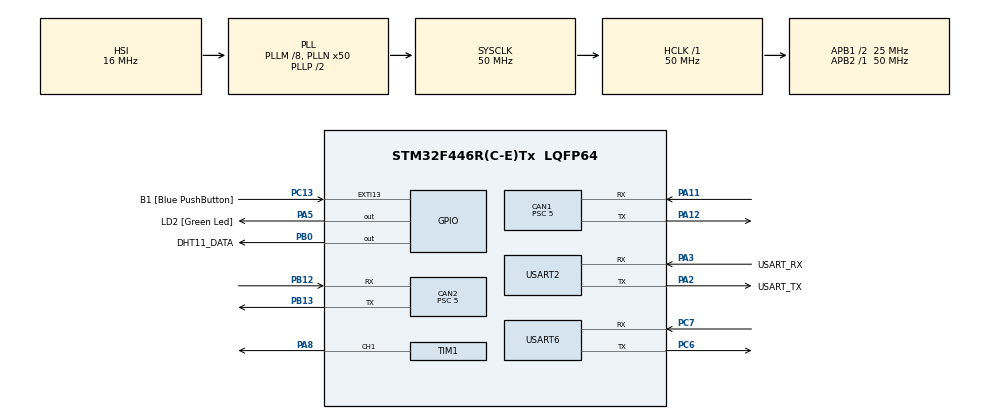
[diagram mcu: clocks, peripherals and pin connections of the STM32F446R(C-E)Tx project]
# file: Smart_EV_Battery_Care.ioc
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CAN1.BS1=CAN_BS1_7TQ
CAN1.BS2=CAN_BS2_2TQ
CAN1.CalculateBaudRate=500000
CAN1.CalculateTimeBit=2000
CAN1.CalculateTimeQuantum=200.0
CAN1.NART=DISABLE
CAN1.Prescaler=5
CAN2.BS1=CAN_BS1_7TQ
CAN2.BS2=CAN_BS2_2TQ
CAN2.CalculateBaudRate=500000
CAN2.CalculateTimeBit=2000
CAN2.CalculateTimeQuantum=200.0
CAN2.Prescaler=5
FREERTOS.Tasks01=defaultTask,24,1024,StartDefaultTask,Default,NULL,Dynamic,NULL,NULL
Mcu.Family=STM32F4
Mcu.Name=STM32F446R(C-E)Tx
Mcu.Package=LQFP64
NVIC.CAN2_RX0_IRQn=true\:5\:0\:false\:false\:true\:true\:true\:true\:true
NVIC.PriorityGroup=NVIC_PRIORITYGROUP_4
PA11.Mode=CAN_Activate
PA11.Signal=CAN1_RX
PA12.Mode=CAN_Activate
PA12.Signal=CAN1_TX
PA13.GPIO_Label=TMS
PA13.Mode=Serial_Wire
PA13.Signal=SYS_JTMS-SWDIO
PA14.GPIO_Label=TCK
PA14.Mode=Serial_Wire
PA14.Signal=SYS_JTCK-SWCLK
PA2.GPIO_Label=USART_TX
PA2.Mode=Asynchronous
PA2.Signal=USART2_TX
PA3.GPIO_Label=USART_RX
PA3.Mode=Asynchronous
PA3.Signal=USART2_RX
PA5.GPIO_Label=LD2 [Green Led]
PA5.Signal=GPIO_Output
PA8.Signal=S_TIM1_CH1
PB0.GPIO_Label=DHT11_DATA
PB0.PinState=GPIO_PIN_SET
PB0.Signal=GPIO_Output
PB12.GPIO_PuPd=GPIO_PULLUP
PB12.Mode=CAN_Activate
PB12.Signal=CAN2_RX
PB13.Mode=CAN_Activate
PB13.Signal=CAN2_TX
PB3.GPIO_Label=SWO
PB3.Signal=SYS_JTDO-SWO
PC13.GPIO_Label=B1 [Blue PushButton]
PC13.GPIO_ModeDefaultEXTI=GPIO_MODE_IT_FALLING
PC13.Signal=GPXTI13
PC14-OSC32_IN.Mode=LSE-External-Oscillator
PC14-OSC32_IN.Signal=RCC_OSC32_IN
PC15-OSC32_OUT.Mode=LSE-External-Oscillator
PC15-OSC32_OUT.Signal=RCC_OSC32_OUT
PC6.Mode=Asynchronous
PC6.Signal=USART6_TX
PC7.GPIO_PuPd=GPIO_PULLUP
PC7.Mode=Asynchronous
PC7.Signal=USART6_RX
PH0-OSC_IN.Mode=HSE-External-Oscillator
PH0-OSC_IN.Signal=RCC_OSC_IN
PH1-OSC_OUT.Mode=HSE-External-Oscillator
PH1-OSC_OUT.Signal=RCC_OSC_OUT
ProjectManager.HeapSize=0x200
ProjectManager.StackSize=0x400
ProjectManager.TargetToolchain=STM32CubeIDE
RCC.48MHZClocksFreq_Value=84000000
RCC.AHBFreq_Value=50000000
RCC.APB1CLKDivider=RCC_HCLK_DIV2
RCC.APB1Freq_Value=25000000
RCC.APB1TimFreq_Value=50000000
RCC.APB2Freq_Value=50000000
RCC.APB2TimFreq_Value=50000000
RCC.CortexFreq_Value=50000000
RCC.FLatency-AdvancedSettings=FLASH_LATENCY_1
RCC.HCLKFreq_Value=50000000
RCC.HSE_VALUE=8000000
RCC.HSI_VALUE=16000000
RCC.PLLM=8
RCC.PLLN=50
RCC.SYSCLKFreq_VALUE=50000000
RCC.SYSCLKSource=RCC_SYSCLKSOURCE_PLLCLK
RCC.USBFreq_Value=50000000
RCC.VCOOutputFreq_Value=100000000
SH.S_TIM1_CH1.0=TIM1_CH1,PWM Generation1 CH1
TIM1.Channel-PWM\ Generation1\ CH1=TIM_CHANNEL_1
TIM1.Period=19999
TIM1.Prescaler=49
TIM6.Prescaler=83
USART2.VirtualMode=VM_ASYNC
USART6.VirtualMode=VM_ASYNC
VP_FREERTOS_VS_CMSIS_V2.Mode=CMSIS_V2
VP_TIM1_VS_ClockSourceINT.Mode=Internal
VP_TIM6_VS_ClockSourceINT.Mode=Enable_Timer
board=NUCLEO-F446RE

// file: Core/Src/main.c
/* USER CODE BEGIN Header */
/**
  ******************************************************************************
  * @file           : main.c
  * @brief          : Main program body
  ******************************************************************************
  */
/* USER CODE END Header */
#include "main.h"
#include "cmsis_os.h"
#include "can.h"
#include "tim.h"
#include "usart.h"
#include "gpio.h"

/* USER CODE BEGIN Includes */
#include <stdint.h>
#include <stdio.h>
#include <string.h>
#include "mk_dht11.h"
/* USER CODE END Includes */

void SystemClock_Config(void);
void MX_FREERTOS_Init(void);

/* USER CODE BEGIN PV */
dht11_t dht;

extern UART_HandleTypeDef huart2;
extern UART_HandleTypeDef huart6;
extern TIM_HandleTypeDef htim1;
extern CAN_HandleTypeDef hcan2;

/* ── CAN ID 정의 (문서 14번 스펙 + 이력 프레임 추가) ────── */
#define CAN_ID_BMS_STATUS   0x100   /* STM32 -> ESP32 실시간 상태 송신 */
#define CAN_ID_BMS_HISTORY  0x101   /* STM32 -> ESP32 이력 데이터 송신 (신규) */
#define CAN_ID_BMS_CTRL     0x200   /* ESP32 -> STM32 제어 명령 수신 */
#define CAN_ID_UDS_REQ      0x7A0   /* [추가] ESP32 -> STM32 UDS 진단 요청 (문서 15번) */
#define CAN_ID_UDS_RESP     0x7A8   /* [추가] STM32 -> ESP32 UDS 진단 응답 */

/* ── OTA 관련 CAN ID (ESP32 쪽에 이미 정의되어 있던 것과 동일) ── */
#define CAN_ID_OTA_START    0x300   /* ESP32 -> STM32: 파일 크기 + CRC32 전송 */
#define CAN_ID_OTA_DATA     0x301   /* ESP32 -> STM32: 펌웨어 조각 (8바이트씩 스트리밍) */
#define CAN_ID_OTA_DONE     0x302   /* ESP32 -> STM32: 전송 완료 신호 */
#define CAN_ID_OTA_RESULT   0x311   /* STM32 -> ESP32: 검증/반영 결과 */

/* ── OTA용 Flash 구역 (STM32F446RE 512KB, Sector 0~7) ──────
   Sector 0~4 (0x08000000~0x0801FFFF, 128KB): 지금 실행 중인 앱 코드
   Sector 5   (0x08020000, 128KB): OTA 임시 보관 공간 (Staging)
   Sector 6   (0x08040000, 128KB): 예비
   Sector 7   (0x08060000, 128KB): 기존 이력/설정 저장 공간 (그대로 유지) */
#define OTA_STAGING_ADDR    0x08020000UL
#define OTA_STAGING_SECTOR  FLASH_SECTOR_5
#define OTA_APP_START_ADDR  0x08000000UL
#define OTA_APP_SECTOR_COUNT 5   /* Sector 0~4 */
#define OTA_MAX_SIZE        (128UL * 1024UL)

/* UDS 서비스 ID (문서 15번) */
#define UDS_SID_DIAG_SESSION_CONTROL  0x10
#define UDS_SID_READ_DATA_BY_ID       0x22
#define UDS_SID_READ_DTC_INFO         0x19
#define UDS_SID_WRITE_DATA_BY_ID      0x2E
#define UDS_NEG_RESPONSE              0x7F

/* UDS DID (문서 15번) */
#define DID_SOFTWARE_VERSION   0xF190
#define DID_MAX_TEMPERATURE    0xF191
#define DID_SOH                0xF192
#define DID_VALVE_COUNT        0xF193
#define DID_TEMP_THRESHOLD     0xF194

/* Command 정의 (문서 14번 + 데모용 추가) */
#define CMD_LOAD_CHANGE   0x01
#define CMD_SUMMER_MODE   0x02
#define CMD_WINTER_MODE   0x03
#define CMD_DTC_CLEAR     0x04
#define CMD_CHARGE_FULL   0x05   /* 데모 편의 기능 */
#define CMD_DEMO_STRESS   0x06   /* [추가] 시연용 이력 강제 누적 (테스트 전용, SOH 공식 자체는 안 건드림) */
#define CMD_OTA_THRESHOLD 0x07   /* [추가] OTA 파라미터 업데이트: 임계치를 Flash에 영구 저장 */
#define CMD_HISTORY_RESET 0x08   /* [추가] 이력 초기화 (테스트 전용) */
#define CMD_OTA_ENTER     0x09   /* [추가] OTA 패널 진입 -> 대기 모드로 전환 */
#define CMD_OTA_CANCEL    0x0A   /* [추가] OTA 패널에서 뒤로가기 -> 평소 모드로 복귀 */

/* ══════════════════════════════════════════════════════════
   [보안] CAN 명령 인증 + OTA 서명용 공유 비밀값
   ══════════════════════════════════════════════════════════
   STM32와 ESP32만 아는 값이라고 가정. 실제 제품이었다면 기기마다
   다른 키를 안전하게 심어두고(프로비저닝) HMAC-SHA256 같은 진짜
   암호학적 해시를 썼겠지만, 여기서는 "인증이라는 개념"을 짧은 시간에
   보여주기 위해 CRC8/CRC32에 이 비밀값을 섞어 넣는 간단한 방식으로
   구현했습니다. (CRC는 선형이라 진짜 공격자가 마음먹으면 역산이
   가능한 수준 - 발표 때 이 한계는 솔직하게 말씀하시면 됩니다) */
#define SHARED_SECRET_32  0x5A3C1E77UL

/* ══════════════════════════════════════════════════════════
   [OTA 시연용] 펌웨어 버전 - 이 두 숫자만 바꿔서 두 번 빌드하면
   "OTA 전/후" 데모용 .bin 파일 2개가 만들어집니다.
   예: 1,2로 한 번 빌드(v1.2, 원래 것) -> 1,3으로 바꿔서 다시 빌드(v1.3, 새 것)
   UDS "SW 버전(F190)" 조회 버튼으로 이 값이 바뀌었는지 눈으로 확인 가능 */
#define FW_VERSION_MAJOR  1
#define FW_VERSION_MINOR  2

/* Fault 비트 정의 (문서 16번 DTC) */
#define DTC_B1001_OVER_TEMP        (1 << 0)
#define DTC_B1002_VALVE_FAIL       (1 << 1)
#define DTC_B1003_TEMP_SENSOR_FAIL (1 << 2)
#define DTC_B1004_OTA_FAIL         (1 << 3)

#define SERVO_PULSE_CLOSED   1000
#define SERVO_PULSE_WARN     1500
#define SERVO_PULSE_OPEN     2000

/* ── Flash 이력 저장 영역 (문서 10번) ───────────────────── */
#define FLASH_LOG_SECTOR   FLASH_SECTOR_7
#define FLASH_LOG_ADDR     0x08060000UL   /* [수정] STM32F446RE(512KB) Sector 7 실제 시작 주소. 0x080E0000은 더 큰 용량 칩 기준이라 잘못됐었음 */
#define FLASH_MAGIC        0xB3A55A3BUL

typedef struct {
    uint32_t magic;
    float    max_temp;
    uint16_t valve_count;
    uint16_t overheat_count;
    uint8_t  temp_threshold;
    uint8_t  season;
    uint16_t ota_count;      /* OTA 파라미터 적용 횟수 (문서 10번 "OTA 적용 이력") */
} bms_history_t;

static bms_history_t hist;

/* ── 실시간 상태 변수 ────────────────────────────────────── */
static float    T_ambient      = 25.0f;
static float    T_cell         = 25.0f;
static uint8_t  actual_load    = 0;
static uint8_t  target_load    = 0;
static const float K_FACTOR    = 0.33f;  /* [수정] 0.2 -> 0.33: 최대 부하(100%) 시 온도가 50~60도대에 오도록 조정 */

static uint8_t  soc            = 100;
static float    soc_f          = 100.0f;
static uint8_t  soh            = 100;
static uint8_t  fault_byte     = 0;
static uint8_t  valve_angle    = 0;
static uint8_t  prev_valve_angle = 0;
static uint8_t  was_overheating  = 0;

/* ── OTA 상태 변수 ───────────────────────────────────────── */
typedef enum {
    OTA_STATE_NORMAL = 0,     /* 평소 모드 */
    OTA_STATE_WAITING,        /* 대기 모드 (OTA 패널 진입, 파일 아직 안 옴) */
    OTA_STATE_RECEIVING       /* 파일 조각을 받는 중 */
} ota_state_t;

static ota_state_t ota_state = OTA_STATE_NORMAL;
static uint32_t     ota_total_size    = 0;
static uint32_t     ota_expected_crc  = 0;
static uint32_t     ota_bytes_written = 0;   /* Staging에 실제로 기록된 바이트 수 */
static uint8_t       ota_ram_buf[256];        /* 4바이트씩 flash에 쓰기 전 잠깐 모아두는 RAM 버퍼 */
static uint16_t       ota_ram_buf_len = 0;
static uint8_t        ota_flash_write_error = 0;   /* [추가] Flash 쓰기 중 하나라도 실패하면 1 */

/* [보안] CAN 제어 명령 재전송 방지용 - 마지막으로 받아들인 카운터 값 */
static uint16_t can_auth_last_counter = 0;
static uint16_t can_auth_fail_count = 0;   /* 위조/재전송 시도가 몇 번 있었는지 (Fault/DTC로도 연결) */
/* USER CODE END PV */

/* USER CODE BEGIN PFP */
static void CAN_Filter_Config(void);
static uint8_t crc8_calc(const uint8_t *data, int len);
static uint32_t crc32_calc(const uint8_t *data, uint32_t len);
static uint32_t crc32_calc_seeded(const uint8_t *data, uint32_t len, uint32_t seed);
static uint8_t compute_can_auth_tag(uint8_t cmd, uint8_t p1, uint8_t p2, uint16_t counter);
static void update_bms_logic(void);
static void send_status_frame(void);
static void send_history_frame(void);
static void handle_ctrl_frame(uint8_t *data, uint8_t dlc);
static void handle_uds_request(uint8_t *rx, uint8_t dlc);
static void send_uds_response(const uint8_t *data, uint8_t len);
static void flash_load_history(void);
static void flash_save_history(void);
static void ota_enter_waiting(void);
static void ota_cancel(void);
static void ota_handle_start(uint8_t *data, uint8_t dlc);
static void ota_handle_data(uint8_t *data, uint8_t dlc);
static void ota_handle_done(void);
static void ota_flush_ram_buf(uint8_t final);
static void ota_send_result(uint8_t ok);
/* USER CODE END PFP */

/* USER CODE BEGIN 0 */
int __io_putchar(int ch)
{
    HAL_UART_Transmit(&huart2, (uint8_t *)&ch, 1, HAL_MAX_DELAY);
    return ch;
}

static void CAN_Filter_Config(void)
{
    CAN_FilterTypeDef sFilterConfig;
    sFilterConfig.FilterBank = 0;
    sFilterConfig.FilterMode = CAN_FILTERMODE_IDMASK;
    sFilterConfig.FilterScale = CAN_FILTERSCALE_32BIT;
    sFilterConfig.FilterIdHigh = (CAN_ID_BMS_CTRL << 5);
    sFilterConfig.FilterIdLow = 0x0000;
    sFilterConfig.FilterMaskIdHigh = (0x7FF << 5);
    sFilterConfig.FilterMaskIdLow = 0x0000;
    sFilterConfig.FilterFIFOAssignment = CAN_FILTER_FIFO0;
    sFilterConfig.FilterActivation = ENABLE;
    sFilterConfig.SlaveStartFilterBank = 0;

    if (HAL_CAN_ConfigFilter(&hcan2, &sFilterConfig) != HAL_OK)
    {
        Error_Handler();
    }

    /* [추가] 필터 뱅크 1 - UDS 진단 요청(0x7A0)도 받도록 */
    CAN_FilterTypeDef sFilterConfig2;
    sFilterConfig2.FilterBank = 1;
    sFilterConfig2.FilterMode = CAN_FILTERMODE_IDMASK;
    sFilterConfig2.FilterScale = CAN_FILTERSCALE_32BIT;
    sFilterConfig2.FilterIdHigh = (CAN_ID_UDS_REQ << 5);
    sFilterConfig2.FilterIdLow = 0x0000;
    sFilterConfig2.FilterMaskIdHigh = (0x7FF << 5);
    sFilterConfig2.FilterMaskIdLow = 0x0000;
    sFilterConfig2.FilterFIFOAssignment = CAN_FILTER_FIFO0;
    sFilterConfig2.FilterActivation = ENABLE;
    sFilterConfig2.SlaveStartFilterBank = 0;

    if (HAL_CAN_ConfigFilter(&hcan2, &sFilterConfig2) != HAL_OK)
    {
        Error_Handler();
    }

    /* [추가] 필터 뱅크 2 - OTA 메시지(0x300~0x303: START/DATA/DONE 등)도 받도록
       마스크로 하위 2비트를 무시해서 0x300,0x301,0x302,0x303을 한 번에 수용 */
    CAN_FilterTypeDef sFilterConfig3;
    sFilterConfig3.FilterBank = 2;
    sFilterConfig3.FilterMode = CAN_FILTERMODE_IDMASK;
    sFilterConfig3.FilterScale = CAN_FILTERSCALE_32BIT;
    sFilterConfig3.FilterIdHigh = (CAN_ID_OTA_START << 5);
    sFilterConfig3.FilterIdLow = 0x0000;
    sFilterConfig3.FilterMaskIdHigh = (0x7FCU << 5);   /* 하위 2비트 무시 */
    sFilterConfig3.FilterMaskIdLow = 0x0000;
    sFilterConfig3.FilterFIFOAssignment = CAN_FILTER_FIFO0;
    sFilterConfig3.FilterActivation = ENABLE;
    sFilterConfig3.SlaveStartFilterBank = 0;

    if (HAL_CAN_ConfigFilter(&hcan2, &sFilterConfig3) != HAL_OK)
    {
        Error_Handler();
    }
}

static uint8_t crc8_calc(const uint8_t *data, int len)
{
    uint8_t crc = 0x00;
    for (int i = 0; i < len; i++) {
        crc ^= data[i];
        for (int b = 0; b < 8; b++) {
            if (crc & 0x80) crc = (uint8_t)((crc << 1) ^ 0x07);
            else crc <<= 1;
        }
    }
    return crc;
}

/* [보안] CAN 제어 명령용 인증 태그 계산.
   비밀값(SHARED_SECRET_32) + 명령 + 파라미터2개 + 카운터를 한꺼번에 CRC8로
   묶어서 계산 -> 이 비밀값을 모르면 올바른 태그를 만들 수 없음 (위조 방지),
   카운터가 매번 달라지므로 예전에 캡처해둔 메시지를 재전송해도 카운터가
   과거 값이라 거부됨 (재전송 방지) */
static uint8_t compute_can_auth_tag(uint8_t cmd, uint8_t p1, uint8_t p2, uint16_t counter)
{
    uint8_t buf[9];
    buf[0] = (uint8_t)(SHARED_SECRET_32 >> 24);
    buf[1] = (uint8_t)(SHARED_SECRET_32 >> 16);
    buf[2] = (uint8_t)(SHARED_SECRET_32 >> 8);
    buf[3] = (uint8_t)(SHARED_SECRET_32);
    buf[4] = cmd;
    buf[5] = p1;
    buf[6] = p2;
    buf[7] = (uint8_t)(counter & 0xFF);
    buf[8] = (uint8_t)((counter >> 8) & 0xFF);
    return crc8_calc(buf, 9);
}

/* ── Flash 이력 로드/저장 (문서 10번) ────────────────────── */
static void flash_load_history(void)
{
    memcpy(&hist, (void *)FLASH_LOG_ADDR, sizeof(hist));
    if (hist.magic != FLASH_MAGIC) {
        /* Flash가 비어있거나(첫 부팅) 손상됨 -> 초기값으로 시작 */
        hist.magic = FLASH_MAGIC;
        hist.max_temp = 0.0f;
        hist.valve_count = 0;
        hist.overheat_count = 0;
        hist.temp_threshold = 40;
        hist.season = 0;
        hist.ota_count = 0;
        printf("[FLASH] 이력 없음 - 초기화\r\n");
    } else {
        printf("[FLASH] 이력 로드: max_temp=%.1f valve_count=%d overheat_count=%d threshold=%d season=%d ota_count=%d\r\n",
               hist.max_temp, hist.valve_count, hist.overheat_count, hist.temp_threshold, hist.season, hist.ota_count);
    }
}

static void flash_save_history(void)
{
    HAL_FLASH_Unlock();

    FLASH_EraseInitTypeDef eraseInit;
    uint32_t sectorError = 0;
    eraseInit.TypeErase = FLASH_TYPEERASE_SECTORS;
    eraseInit.Sector = FLASH_LOG_SECTOR;
    eraseInit.NbSectors = 1;
    eraseInit.VoltageRange = FLASH_VOLTAGE_RANGE_3;

    if (HAL_FLASHEx_Erase(&eraseInit, &sectorError) != HAL_OK) {
        printf("[FLASH] Erase 실패 (sectorError=0x%08lX)\r\n", sectorError);
        HAL_FLASH_Lock();
        return;
    }

    uint32_t *src = (uint32_t *)&hist;
    uint32_t addr = FLASH_LOG_ADDR;
    for (size_t i = 0; i < sizeof(hist) / 4; i++) {
        if (HAL_FLASH_Program(FLASH_TYPEPROGRAM_WORD, addr, src[i]) != HAL_OK) {
            printf("[FLASH] Program 실패 @0x%08lX\r\n", addr);
            break;
        }
        addr += 4;
    }

    HAL_FLASH_Lock();
    printf("[FLASH] 이력 저장 완료\r\n");
}

/* [추가] 자동 저장은 최소 10초 간격으로 제한 (섹터 지우기가 몇 초씩 걸려서 그 사이 CAN이 멈추는 것 방지).
   데모/OTA 버튼 같은 명시적 사용자 액션은 이 제한 없이 즉시 저장 (flash_save_history 직접 호출) */
static uint32_t last_auto_save_tick = 0;
static void flash_save_history_throttled(void)
{
    uint32_t now = HAL_GetTick();
    if (now - last_auto_save_tick < 10000) {
        return;  /* 너무 자주 저장하지 않음 - RAM 값은 이미 최신이라 화면 표시엔 문제 없음 */
    }
    last_auto_save_tick = now;
    flash_save_history();
}

/* ESP32로부터 받은 제어 명령(0x200) 처리 */
static void handle_ctrl_frame(uint8_t *data, uint8_t dlc)
{
    if (dlc < 1) return;
    uint8_t command = data[0];

    /* [보안] 인증 태그 + 카운터 검증 (프레임이 6바이트 이상 갖춰진 경우만 - 구버전 호환용 완충)
       - 태그가 안 맞으면: 이 명령이 진짜 우리 ESP32가 보낸 게 아닐 수 있음 -> 거부
       - 카운터가 이전보다 안 커졌으면: 예전에 캡처해둔 메시지를 재전송한 것일 수 있음 -> 거부 */
    if (dlc >= 6) {
        uint8_t p1 = data[1];
        uint8_t p2 = data[2];
        uint16_t counter = (uint16_t)data[3] | ((uint16_t)data[4] << 8);
        uint8_t receivedTag = data[5];
        uint8_t expectedTag = compute_can_auth_tag(command, p1, p2, counter);

        if (receivedTag != expectedTag) {
            can_auth_fail_count++;
            printf("[보안] 인증 태그 불일치! 위조된 명령으로 의심되어 거부합니다 (누적 %d회)\r\n", can_auth_fail_count);
            return;
        }
        if (can_auth_last_counter != 0 && counter <= can_auth_last_counter) {
            can_auth_fail_count++;
            printf("[보안] 재전송 의심 (counter=%u <= 마지막 승인값=%u) -> 거부 (누적 %d회)\r\n",
                   counter, can_auth_last_counter, can_auth_fail_count);
            return;
        }
        can_auth_last_counter = counter;
    }

    switch (command) {
        case CMD_LOAD_CHANGE:
            if (dlc >= 2) {
                target_load = data[1];
                printf("[CTRL] Load 변경 -> %d%%\r\n", target_load);
            }
            break;
        case CMD_SUMMER_MODE:
            hist.season = 0;
            hist.temp_threshold = 40;
            printf("[CTRL] 여름 모드 (임계 40C, 런타임 변경만)\r\n");
            break;
        case CMD_WINTER_MODE:
            hist.season = 1;
            hist.temp_threshold = 45;
            printf("[CTRL] 겨울 모드 (임계 45C, 런타임 변경만)\r\n");
            break;
        case CMD_DTC_CLEAR:
            fault_byte = 0;
            printf("[CTRL] DTC Clear\r\n");
            break;
        case CMD_CHARGE_FULL:
            soc_f = 100.0f;
            soc = 100;
            printf("[CTRL] 완충 -> SOC 100%%\r\n");
            break;
        case CMD_DEMO_STRESS:
            /* [테스트 전용] SOH 공식/실제 계산 로직은 그대로 두고, 이력 카운터만 시연용으로 강제 누적.
               2~3회 클릭으로 정상->주의->위험까지 확실히 이동하도록 세게 누적 (overheat 가중치 1.0이 제일 큼) */
            /* [수정] 2번 누르면 주의, 4번 누르면 위험이 뜨도록 강도 재조정 (overheat 가중치 1.0이 제일 크게 작용) */
            hist.overheat_count += 12;
            hist.valve_count += 5;
            if (hist.max_temp < 45.0f) hist.max_temp = 45.0f;
            flash_save_history();
            printf("[DEMO] 이력 강제 누적 (테스트 전용) -> overheat=%d valve=%d\r\n",
                   hist.overheat_count, hist.valve_count);
            break;
        case CMD_HISTORY_RESET:
            /* [테스트 전용] 이력 초기화 - SOH를 다시 100%로 되돌림 */
            hist.max_temp = 0.0f;
            hist.valve_count = 0;
            hist.overheat_count = 0;
            hist.ota_count = 0;
            flash_save_history();
            printf("[DEMO] 이력 초기화 완료 (OTA 횟수 포함)\r\n");
            break;
        case CMD_OTA_THRESHOLD:
            /* [OTA 파라미터 업데이트] 문서 9번 - 계절별 임계치를 Flash에 영구 저장 */
            if (dlc >= 2) {
                hist.season = data[1];
                hist.temp_threshold = (hist.season == 1) ? 45 : 40;
                hist.ota_count++;
                send_status_frame();  /* [추가] Flash 쓰기(최대 1~2초 멈춤) 전에 새 값을 먼저 방송 - ESP32 화면 깜빡임 방지 */
                flash_save_history();
                printf("[OTA] 파라미터 업데이트 -> season=%d threshold=%d (누적 %d회, Flash 영구저장)\r\n",
                       hist.season, hist.temp_threshold, hist.ota_count);
            }
            break;
        case CMD_OTA_ENTER:
            ota_enter_waiting();
            break;
        case CMD_OTA_CANCEL:
            ota_cancel();
            break;
        default:
            break;
    }
}

/* [추가] UDS 응답 전송 (싱글 프레임 ISO-TP: PCI 바이트 + 데이터) */
static void send_uds_response(const uint8_t *data, uint8_t len)
{
    CAN_TxHeaderTypeDef txHeader;
    uint32_t txMailbox;
    uint8_t txData[8] = {0};

    txData[0] = len;  /* PCI: 싱글 프레임, 뒤따르는 바이트 수 */
    for (int i = 0; i < len && i < 7; i++) {
        txData[1 + i] = data[i];
    }

    txHeader.StdId = CAN_ID_UDS_RESP;
    txHeader.ExtId = 0;
    txHeader.IDE = CAN_ID_STD;
    txHeader.RTR = CAN_RTR_DATA;
    txHeader.DLC = 8;
    txHeader.TransmitGlobalTime = DISABLE;

    HAL_CAN_AddTxMessage(&hcan2, &txHeader, txData, &txMailbox);
}

/* [추가] UDS 진단 요청(0x7A0) 처리 (문서 15번) */
static void handle_uds_request(uint8_t *rx, uint8_t dlc)
{
    if (dlc < 2) return;
    uint8_t pci = rx[0];   /* 뒤따르는 바이트 수 */
    uint8_t sid = rx[1];   /* Service ID */

    if (sid == UDS_SID_DIAG_SESSION_CONTROL) {
        /* 0x10 Diagnostic Session Control */
        uint8_t session = (pci >= 2 && dlc >= 3) ? rx[2] : 0x01;
        uint8_t resp[2] = { (uint8_t)(sid + 0x40), session };
        send_uds_response(resp, 2);
        printf("[UDS] 0x10 DiagSessionControl session=0x%02X -> OK\r\n", session);
    }
    else if (sid == UDS_SID_READ_DATA_BY_ID) {
        /* 0x22 Read Data By Identifier */
        if (pci < 3 || dlc < 4) return;
        uint16_t did = ((uint16_t)rx[2] << 8) | rx[3];
        uint8_t resp[8];
        int rlen;
        resp[0] = (uint8_t)(sid + 0x40);
        resp[1] = rx[2];
        resp[2] = rx[3];

        switch (did) {
            case DID_SOFTWARE_VERSION:
                resp[3] = FW_VERSION_MAJOR; resp[4] = FW_VERSION_MINOR;
                rlen = 5;
                break;
            case DID_MAX_TEMPERATURE:
                resp[3] = (uint8_t)hist.max_temp;
                rlen = 4;
                break;
            case DID_SOH:
                resp[3] = soh;
                rlen = 4;
                break;
            case DID_VALVE_COUNT:
                resp[3] = (uint8_t)(hist.valve_count >> 8);
                resp[4] = (uint8_t)(hist.valve_count & 0xFF);
                rlen = 5;
                break;
            case DID_TEMP_THRESHOLD:
                resp[3] = hist.temp_threshold;
                rlen = 4;
                break;
            default: {
                uint8_t neg[3] = { UDS_NEG_RESPONSE, sid, 0x31 };  /* NRC 0x31: requestOutOfRange */
                send_uds_response(neg, 3);
                printf("[UDS] 0x22 ReadDataByID DID=0x%04X -> 알 수 없는 DID (NRC 0x31)\r\n", did);
                return;
            }
        }
        send_uds_response(resp, rlen);
        printf("[UDS] 0x22 ReadDataByID DID=0x%04X -> OK\r\n", did);
    }
    else if (sid == UDS_SID_READ_DTC_INFO) {
        /* 0x19 Read DTC Information (subfunction 0x02: reportDTCByStatusMask, 간이 구현) */
        uint8_t resp[8];
        resp[0] = (uint8_t)(sid + 0x40);
        resp[1] = 0x02;   /* subfunction 에코 */
        resp[2] = 0xFF;   /* DTCStatusAvailabilityMask */
        int idx = 3;

        /* 문서 16번 DTC 중 현재 활성화된 것만 보고 (싱글 프레임이라 최대 1개 정도만 담김) */
        if (fault_byte & DTC_B1001_OVER_TEMP) {
            resp[idx++] = 0xB1; resp[idx++] = 0x00; resp[idx++] = 0x01;  /* DTC: B1001 */
            resp[idx++] = 0x08;  /* Status: testFailed */
        } else if (fault_byte & DTC_B1003_TEMP_SENSOR_FAIL) {
            resp[idx++] = 0xB1; resp[idx++] = 0x00; resp[idx++] = 0x03;  /* DTC: B1003 */
            resp[idx++] = 0x08;
        }
        send_uds_response(resp, idx);
        printf("[UDS] 0x19 ReadDTCInfo -> Fault=0x%02X\r\n", fault_byte);
    }
    else if (sid == UDS_SID_WRITE_DATA_BY_ID) {
        /* 0x2E Write Data By Identifier */
        if (pci < 3 || dlc < 5) return;
        uint16_t did = ((uint16_t)rx[2] << 8) | rx[3];

        if (did == DID_TEMP_THRESHOLD) {
            hist.temp_threshold = rx[4];
            hist.season = (hist.temp_threshold >= 45) ? 1 : 0;
            send_status_frame();
            flash_save_history();
            uint8_t resp[3] = { (uint8_t)(sid + 0x40), rx[2], rx[3] };
            send_uds_response(resp, 3);
            printf("[UDS] 0x2E WriteDataByID DID=0x%04X -> %d (Flash 저장됨)\r\n", did, rx[4]);
        } else {
            uint8_t neg[3] = { UDS_NEG_RESPONSE, sid, 0x31 };
            send_uds_response(neg, 3);
            printf("[UDS] 0x2E WriteDataByID DID=0x%04X -> 쓰기 불가능한 DID (NRC 0x31)\r\n", did);
        }
    }
}

/* ══════════════════════════════════════════════════════════
   OTA (무선 펌웨어 업데이트) 구현
   ══════════════════════════════════════════════════════════ */

/* ESP32와 완전히 동일한 CRC32 알고리즘 (poly 0xEDB88320, 반사) - 값이 안 맞으면 절대 안 됨 */
static uint32_t crc32_calc(const uint8_t *data, uint32_t len)
{
    return crc32_calc_seeded(data, len, 0xFFFFFFFFUL);
}

/* [보안] OTA 펌웨어 서명(간이 버전)에 쓰는 "비밀값이 섞인" CRC32.
   일반 CRC32는 시작값이 항상 0xFFFFFFFF로 고정인데, 여기서는 그 시작값 자체를
   비밀값과 섞은 값으로 바꿔서 계산합니다. 그래서 파일 내용을 알아도 비밀값을
   모르면 우리가 기대하는 서명값을 만들어낼 수 없습니다 (= 아무 펌웨어나 CRC만
   맞춰서 밀어넣을 수 없게 됨). CRC는 선형 연산이라 진짜 공격자가 정교하게
   분석하면 뚫릴 수 있는 수준이고, 실제 제품은 HMAC-SHA256 등을 씁니다 -
   여기서는 "서명이라는 개념"을 보여주는 간단한 구현입니다. */
static uint32_t crc32_calc_seeded(const uint8_t *data, uint32_t len, uint32_t seed)
{
    uint32_t crc = seed;
    for (uint32_t i = 0; i < len; i++) {
        crc ^= data[i];
        for (int b = 0; b < 8; b++) {
            if (crc & 1) crc = (crc >> 1) ^ 0xEDB88320UL;
            else crc = crc >> 1;
        }
    }
    return ~crc;
}

static uint32_t ota_signature_calc(const uint8_t *data, uint32_t len)
{
    uint32_t seed = 0xFFFFFFFFUL ^ SHARED_SECRET_32;
    return crc32_calc_seeded(data, len, seed);
}

/* [매우 중요] 새 펌웨어를 실제 앱 영역에 덮어쓰는 부분.
   이 함수 전체가 반드시 RAM에서 실행되어야 함 (Flash 지우는 동안 Flash를 못 읽기 때문).
   그래서 HAL 함수를 쓰지 않고 FLASH 레지스터를 직접 건드리는 최소한의 코드로 작성함.
   -> 이 프로젝트의 링커 스크립트(.ld)에는 .RamFunc 섹션이 .data 섹션 안에
      이미 포함되어 있어서(확인 완료), 별도로 손댈 것 없이 __attribute__ 만으로 동작함
      (이 파일 맨 아래 안내 주석 참고) */
__attribute__((section(".RamFunc"), noinline))
static void ota_commit_from_ram(uint32_t byte_size)
{
    __disable_irq();

    /* Flash 잠금 해제 */
    if (FLASH->CR & FLASH_CR_LOCK) {
        FLASH->KEYR = 0x45670123UL;
        FLASH->KEYR = 0xCDEF89ABUL;
    }

    /* 앱 영역(Sector 0~4) 지우기 - 지금 실행 중인 바로 그 영역! */
    for (uint32_t sector = 0; sector < OTA_APP_SECTOR_COUNT; sector++) {
        while (FLASH->SR & FLASH_SR_BSY) { }
        FLASH->CR &= ~FLASH_CR_PSIZE_Msk;
        FLASH->CR |= FLASH_CR_PSIZE_1;                 /* 32비트 단위 프로그래밍 */
        FLASH->CR &= ~FLASH_CR_SNB_Msk;
        FLASH->CR |= (sector << FLASH_CR_SNB_Pos);
        FLASH->CR |= FLASH_CR_SER;
        FLASH->CR |= FLASH_CR_STRT;
        while (FLASH->SR & FLASH_SR_BSY) { }
        FLASH->CR &= ~FLASH_CR_SER;
    }

    /* Staging(Sector5)에 받아둔 새 펌웨어를 앱 영역으로 그대로 복사 */
    uint32_t words = (byte_size + 3) / 4;
    volatile uint32_t *src = (volatile uint32_t *)OTA_STAGING_ADDR;
    volatile uint32_t *dst = (volatile uint32_t *)OTA_APP_START_ADDR;

    for (uint32_t i = 0; i < words; i++) {
        while (FLASH->SR & FLASH_SR_BSY) { }
        FLASH->CR |= FLASH_CR_PG;
        dst[i] = src[i];
        while (FLASH->SR & FLASH_SR_BSY) { }
        FLASH->CR &= ~FLASH_CR_PG;
    }

    FLASH->CR |= FLASH_CR_LOCK;

    NVIC_SystemReset();   /* 여기서 바로 재부팅 -> 새 펌웨어로 시작 */
}

static void ota_send_result(uint8_t ok)
{
    CAN_TxHeaderTypeDef txHeader;
    uint32_t txMailbox;
    uint8_t data[1] = { ok };
    txHeader.StdId = CAN_ID_OTA_RESULT;
    txHeader.ExtId = 0;
    txHeader.IDE = CAN_ID_STD;
    txHeader.RTR = CAN_RTR_DATA;
    txHeader.DLC = 1;
    txHeader.TransmitGlobalTime = DISABLE;
    HAL_CAN_AddTxMessage(&hcan2, &txHeader, data, &txMailbox);
}

/* 웹에서 "OTA 업데이트" 버튼 눌러서 패널에 들어왔을 때 - 대기 모드로 전환 */
static void ota_enter_waiting(void)
{
    if (ota_state == OTA_STATE_NORMAL) {
        ota_state = OTA_STATE_WAITING;
        printf("[OTA] 대기 모드 진입\r\n");
    }
}

/* "뒤로가기" 눌렀을 때 - 평소 모드로 복귀, 받던 것 있으면 버림 */
static void ota_cancel(void)
{
    ota_state = OTA_STATE_NORMAL;
    ota_total_size = 0;
    ota_bytes_written = 0;
    ota_ram_buf_len = 0;
    printf("[OTA] 취소됨 - 평소 모드로 복귀\r\n");
}

/* 파일 크기 + CRC32 수신 (8바이트: size 4바이트 + crc32 4바이트, 리틀엔디안) */
static void ota_handle_start(uint8_t *data, uint8_t dlc)
{
    if (dlc < 8) return;
    if (ota_state != OTA_STATE_WAITING && ota_state != OTA_STATE_RECEIVING) return;

    ota_total_size = (uint32_t)data[0] | ((uint32_t)data[1] << 8) |
                     ((uint32_t)data[2] << 16) | ((uint32_t)data[3] << 24);
    ota_expected_crc = (uint32_t)data[4] | ((uint32_t)data[5] << 8) |
                       ((uint32_t)data[6] << 16) | ((uint32_t)data[7] << 24);

    if (ota_total_size == 0 || ota_total_size > OTA_MAX_SIZE) {
        printf("[OTA] 파일 크기 이상함 (%lu bytes) -> 거부\r\n", ota_total_size);
        ota_send_result(0);
        return;
    }

    /* Staging 영역(Sector5) 미리 지워두기 */
    HAL_FLASH_Unlock();
    FLASH_EraseInitTypeDef eraseInit;
    uint32_t sectorError = 0;
    eraseInit.TypeErase = FLASH_TYPEERASE_SECTORS;
    eraseInit.Sector = OTA_STAGING_SECTOR;
    eraseInit.NbSectors = 1;
    eraseInit.VoltageRange = FLASH_VOLTAGE_RANGE_3;
    HAL_StatusTypeDef eraseStatus = HAL_FLASHEx_Erase(&eraseInit, &sectorError);
    HAL_FLASH_Lock();

    /* [추가] 지우기가 실패하면 그 즉시 거부. sectorError가 0xFFFFFFFF가 아니면
       "몇 번째 섹터에서 실패했는지"를 가리키는 값이라 이것도 같이 확인해야 함.
       이걸 확인 안 하면, 덜 지워진 영역에 값을 덮어써도 겉으로는 "성공"처럼 보이다가
       나중에 CRC만 안 맞는 이상한 증상으로 나타남 (바이트 수는 맞는데 내용만 틀어짐) */
    if (eraseStatus != HAL_OK || sectorError != 0xFFFFFFFFU) {
        printf("[OTA] Staging 영역 지우기 실패! (status=%d, sectorError=0x%08lX) -> 거부\r\n",
               eraseStatus, sectorError);
        ota_send_result(0);
        return;
    }

    /* [추가] 진짜로 다 지워졌는지(전부 0xFF인지) 직접 한 번 더 확인 - 위 상태값만으로는
       못 잡는 경우까지 대비 */
    volatile uint32_t *stagingCheck = (volatile uint32_t *)OTA_STAGING_ADDR;
    for (uint32_t i = 0; i < (OTA_MAX_SIZE / 4); i++) {
        if (stagingCheck[i] != 0xFFFFFFFFUL) {
            printf("[OTA] Staging 영역이 완전히 지워지지 않음 (offset %lu) -> 거부\r\n", i * 4);
            ota_send_result(0);
            return;
        }
    }

    ota_bytes_written = 0;
    ota_ram_buf_len = 0;
    ota_flash_write_error = 0;
    ota_state = OTA_STATE_RECEIVING;
    printf("[OTA] 수신 시작: %lu bytes, 서명=0x%08lX\r\n", ota_total_size, ota_expected_crc);
    ota_send_result(2);   /* 2 = "임시 공간 준비 완료, 데이터 보내도 됨" (0=실패, 1=반영성공) */
}

/* RAM 버퍼에 모아둔 걸 4바이트 단위로 Staging Flash에 실제로 기록.
   final=true면 마지막 호출이라는 뜻이라, 4바이트로 안 나눠떨어지는 자투리도
   0xFF로 채워서 마저 씀 (그렇게 안 하면 파일 끝 1~3바이트가 영원히 안 써져서
   CRC가 항상 틀어짐 - 실제로 있었던 버그) */
static void ota_flush_ram_buf(uint8_t final)
{
    if (ota_ram_buf_len == 0) return;

    HAL_FLASH_Unlock();
    uint32_t addr = OTA_STAGING_ADDR + ota_bytes_written;
    uint32_t i = 0;
    while (i + 4 <= ota_ram_buf_len) {
        uint32_t word;
        memcpy(&word, &ota_ram_buf[i], 4);
        if (HAL_FLASH_Program(FLASH_TYPEPROGRAM_WORD, addr, word) != HAL_OK) {
            ota_flash_write_error = 1;
            printf("[OTA] Flash 쓰기 실패! addr=0x%08lX\r\n", addr);
        }
        addr += 4;
        i += 4;
    }

    uint32_t remain = ota_ram_buf_len - i;
    if (final && remain > 0) {
        /* 마지막 자투리(1~3바이트)를 0xFF로 채워서 워드 하나로 마저 기록 */
        uint8_t lastWord[4] = { 0xFF, 0xFF, 0xFF, 0xFF };
        memcpy(lastWord, &ota_ram_buf[i], remain);
        uint32_t word;
        memcpy(&word, lastWord, 4);
        if (HAL_FLASH_Program(FLASH_TYPEPROGRAM_WORD, addr, word) != HAL_OK) {
            ota_flash_write_error = 1;
            printf("[OTA] Flash 쓰기 실패! addr=0x%08lX (마지막 자투리)\r\n", addr);
        }
        i += remain;
        remain = 0;
    }
    HAL_FLASH_Lock();

    if (remain > 0) memmove(&ota_ram_buf[0], &ota_ram_buf[i], remain);
    ota_bytes_written += i;
    ota_ram_buf_len = (uint16_t)remain;
}

/* 펌웨어 조각(최대 8바이트) 수신 - 순서 그대로 스트리밍, 개별 ACK 없음 */
static void ota_handle_data(uint8_t *data, uint8_t dlc)
{
    if (ota_state != OTA_STATE_RECEIVING) return;

    for (uint8_t i = 0; i < dlc; i++) {
        if (ota_ram_buf_len < sizeof(ota_ram_buf)) {
            ota_ram_buf[ota_ram_buf_len++] = data[i];
        }
    }
    /* [수정] 매 프레임마다 바로바로 flash에 반영 (버퍼링 안 함).
       한 번에 지울 양을 최소화해서, flash 쓰는 그 짧은 순간 때문에
       다음 CAN 프레임을 놓치는 일이 없도록 함 (하드웨어 수신 버퍼가 3개뿐이라
       한 번에 오래 flash를 붙잡고 있으면 이후 프레임을 놓칠 수 있었음) */
    ota_flush_ram_buf(0);
}

/* 전송 완료 신호 수신 - CRC 검증하고, 통과하면 진짜로 반영 */
static void ota_handle_done(void)
{
    if (ota_state != OTA_STATE_RECEIVING) return;

    ota_flush_ram_buf(1);   /* 남은 것까지, 자투리 바이트까지 전부 flash에 반영 */

    printf("[OTA] 받은 바이트 수: %lu / 기대값: %lu\r\n", ota_bytes_written, ota_total_size);

    if (ota_bytes_written < ota_total_size) {
        printf("[OTA] 받은 크기(%lu)가 예상(%lu)보다 작음 -> 실패\r\n", ota_bytes_written, ota_total_size);
        ota_send_result(0);
        ota_state = OTA_STATE_WAITING;
        return;
    }

    if (ota_flash_write_error) {
        printf("[OTA] Flash 쓰기 도중 오류가 있었음 -> 반영 취소 (내용을 신뢰할 수 없음)\r\n");
        ota_send_result(0);
        ota_state = OTA_STATE_WAITING;
        return;
    }

    uint32_t crc = ota_signature_calc((const uint8_t *)OTA_STAGING_ADDR, ota_total_size);
    printf("[OTA] 수신 완료. 계산된 서명=0x%08lX / 기대값=0x%08lX\r\n", crc, ota_expected_crc);

    if (crc != ota_expected_crc) {
        printf("[OTA] CRC 불일치 -> 반영 취소, 기존 펌웨어 그대로 유지\r\n");
        ota_send_result(0);
        ota_state = OTA_STATE_WAITING;
        return;
    }

    printf("[OTA] CRC 통과! 앱 영역에 반영하고 재부팅합니다...\r\n");
    ota_send_result(1);   /* 반영 직전에 성공 응답 먼저 보내둠 */
    HAL_Delay(50);         /* 응답이 CAN 버스로 나갈 시간 확보 */

    hist.ota_count++;
    flash_save_history();

    ota_commit_from_ram(ota_total_size);   /* 여기서 끝 - 이 함수는 리턴하지 않고 바로 재부팅됨 */
}

static void update_bms_logic(void)
{
    /* [수정] 램프 속도를 늦춤: 5 -> 1 (250ms마다 1%씩, 0→100%까지 약 25초 소요) */
    if (actual_load < target_load) {
        actual_load = (uint8_t)((actual_load + 1 > target_load) ? target_load : actual_load + 1);
    } else if (actual_load > target_load) {
        actual_load = (uint8_t)((actual_load < 1) ? 0 : ((actual_load - 1 < target_load) ? target_load : actual_load - 1));
    }

    T_cell = T_ambient + ((float)actual_load * K_FACTOR);
    if (T_cell > hist.max_temp) hist.max_temp = T_cell;

    if (T_cell < 37.0f) {
        valve_angle = 0;
    } else if (T_cell < 40.0f) {
        valve_angle = 45;
    } else {
        valve_angle = 90;
    }

    if (valve_angle != prev_valve_angle) {
        hist.valve_count++;
        prev_valve_angle = valve_angle;

        uint32_t pulse = (valve_angle == 0) ? SERVO_PULSE_CLOSED
                        : (valve_angle == 45) ? SERVO_PULSE_WARN
                                              : SERVO_PULSE_OPEN;
        __HAL_TIM_SET_COMPARE(&htim1, TIM_CHANNEL_1, pulse);
        printf("[VALVE] %d도로 변경 (누적 %d회)\r\n", valve_angle, hist.valve_count);
        /* [수정] 여기서 바로 Flash 저장 안 함 - 전환 순간에 저장하면 그 순간 렉이 눈에 띄어서 별도 타이머로 분리 */
    }

    if (T_cell >= (float)hist.temp_threshold) {
        fault_byte |= DTC_B1001_OVER_TEMP;
        if (!was_overheating) {
            hist.overheat_count++;
            was_overheating = 1;
            printf("[DTC] B1001 Battery Over Temperature 발생 (누적 %d회)\r\n", hist.overheat_count);
            /* [수정] 여기서도 즉시 저장 안 함 (아래와 동일한 이유) */
        }
    } else {
        fault_byte &= ~DTC_B1001_OVER_TEMP;
        was_overheating = 0;
    }

    /* [수정] SOH를 먼저 계산해서, SOH가 나쁠수록 SOC가 더 빨리 닳도록 함 */
    float soh_f = 100.0f - (hist.max_temp * 0.2f) - (hist.valve_count * 0.05f) - (hist.overheat_count * 1.0f);
    if (soh_f > 100.0f) soh_f = 100.0f;
    if (soh_f < 0.0f)  soh_f = 0.0f;
    soh = (uint8_t)soh_f;

    /* SOH 100일 때 1.0배, SOH 0일 때 1.5배까지 방전 속도 증가 (건강 나쁠수록 배터리가 더 빨리 닳음) */
    /* [수정] 배율을 더 세게: SOH 100일 때 1.0배, SOH 0일 때 2.5배까지 (기존 1.5배는 체감이 약했음) */
    float discharge_multiplier = 1.0f + ((100.0f - soh_f) / 66.7f);
    soc_f -= (float)actual_load * 0.00025f * discharge_multiplier;
    if (soc_f < 0.0f) soc_f = 0.0f;
    soc = (uint8_t)soc_f;
}

static void send_status_frame(void)
{
    uint8_t data[8];
    data[0] = (uint8_t)T_cell;
    data[1] = soc;
    data[2] = soh;
    data[3] = fault_byte;
    data[4] = valve_angle;
    data[5] = actual_load;
    data[6] = hist.season;
    data[7] = crc8_calc(data, 7);

    CAN_TxHeaderTypeDef txHeader;
    uint32_t txMailbox;
    txHeader.StdId = CAN_ID_BMS_STATUS;
    txHeader.ExtId = 0;
    txHeader.IDE = CAN_ID_STD;
    txHeader.RTR = CAN_RTR_DATA;
    txHeader.DLC = 8;
    txHeader.TransmitGlobalTime = DISABLE;

    HAL_CAN_AddTxMessage(&hcan2, &txHeader, data, &txMailbox);
}

/* [추가] 이력 프레임(0x101) 전송 - 문서 10번 이력 데이터를 대시보드에 보여주기 위함 */
static void send_history_frame(void)
{
    uint8_t data[8];
    data[0] = (uint8_t)hist.max_temp;
    data[1] = (uint8_t)(hist.valve_count & 0xFF);
    data[2] = (uint8_t)(hist.valve_count >> 8);
    data[3] = (uint8_t)(hist.overheat_count & 0xFF);
    data[4] = (uint8_t)(hist.overheat_count >> 8);
    data[5] = (uint8_t)(hist.ota_count & 0xFF);
    data[6] = hist.temp_threshold;
    data[7] = crc8_calc(data, 7);

    CAN_TxHeaderTypeDef txHeader;
    uint32_t txMailbox;
    txHeader.StdId = CAN_ID_BMS_HISTORY;
    txHeader.ExtId = 0;
    txHeader.IDE = CAN_ID_STD;
    txHeader.RTR = CAN_RTR_DATA;
    txHeader.DLC = 8;
    txHeader.TransmitGlobalTime = DISABLE;

    HAL_CAN_AddTxMessage(&hcan2, &txHeader, data, &txMailbox);
}
/* USER CODE END 0 */

int main(void)
{
  HAL_Init();
  SystemClock_Config();

  /* [확인 완료] 이 프로젝트의 링커 스크립트(.ld)에는 이미 .RamFunc 섹션이
     .data 섹션 안에 포함되어 있어서, 시작 코드(startup 어셈블리)가 부팅 시
     자동으로 Flash -> RAM 복사를 해줍니다. 그래서 여기서 따로 복사할 필요가
     없습니다 (원래 넣었던 수동 복사 코드는 삭제함 - 존재하지도 않는 심볼을
     참조해서 빌드 에러가 났을 것). ota_commit_from_ram() 함수에 붙여둔
     __attribute__((section(".RamFunc"))) 만으로 충분합니다. */

  MX_GPIO_Init();
  MX_CAN1_Init();
  MX_TIM1_Init();
  MX_USART2_UART_Init();
  MX_TIM6_Init();
  MX_CAN2_Init();
  MX_USART6_UART_Init();
  /* USER CODE BEGIN 2 */
  flash_load_history();

  CAN_Filter_Config();

  if (HAL_CAN_Start(&hcan2) != HAL_OK)
  {
    printf("[FATAL] CAN2 Start FAILED\r\n");
    Error_Handler();
  }
  printf("CAN2 Start OK\r\n");

  HAL_TIM_PWM_Start(&htim1, TIM_CHANNEL_1);
  init_dht11(&dht, &htim6, DHT11_DATA_GPIO_Port, DHT11_DATA_Pin);

  printf("\r\n=== STM32 BMS BOOT OK (Flash history + full spec + OTA) ===\r\n");
  printf("=== Firmware Version: v%d.%d ===\r\n", FW_VERSION_MAJOR, FW_VERSION_MINOR);
  /* USER CODE END 2 */

  /* USER CODE BEGIN WHILE */
  uint32_t last_dht_tick = 0;
  uint32_t last_logic_tick = 0;
  uint32_t last_history_tick = 0;
  uint32_t last_print_tick = 0;
  uint32_t last_flash_periodic_tick = 0;
  static uint16_t saved_valve_count = 0;
  static uint16_t saved_overheat_count = 0;

  while (1)
  {
    uint32_t now = HAL_GetTick();

    /* [매우 중요] OTA로 파일을 받는 중에는 다른 모든 배경 작업(DHT 읽기, printf 로그 출력 등)을
       완전히 멈춤. printf는 UART로 실제 전송될 때까지 블로킹되는데, 그 몇 ms 사이에
       CAN 프레임이 여러 개 도착하면 하드웨어 버퍼(3개)를 넘쳐서 파일이 깨지는 게
       실제로 확인된 원인이라 OTA 중에는 CAN 수신에만 집중하도록 함 */
    if (ota_state != OTA_STATE_RECEIVING) {

    /* DHT11은 센서 특성상 너무 자주 읽으면 오작동하므로 2.2초 간격 유지 (하드웨어 제약) */
    if (now - last_dht_tick >= 2200) {
        last_dht_tick = now;
        if (readDHT11(&dht) == 1) {
            T_ambient = (float)dht.temperature;
            fault_byte &= ~DTC_B1003_TEMP_SENSOR_FAIL;
        } else {
            fault_byte |= DTC_B1003_TEMP_SENSOR_FAIL;
        }
    }

    /* [수정] 부하 램프/밸브 판단/CAN 상태 전송은 DHT11과 별개로 훨씬 빠르게 (250ms) 반영
       -> 가상 부하 눌렀을 때 온도/밸브 반응이 훨씬 빠르게 화면에 보임 */
    if (now - last_logic_tick >= 250) {
        last_logic_tick = now;
        update_bms_logic();
        send_status_frame();
    }

    /* [추가] Flash 저장은 밸브/과열 "그 순간"과 완전히 분리해서 20초마다 배경에서 조용히.
       값이 실제로 바뀐 게 있을 때만 저장해서 불필요한 Flash 마모도 줄임.
       단, OTA 파일을 받는 중에는 절대 하지 않음 - Flash 쓰기 중 CAN 수신이 잠깐 멈추면
       그 사이 하드웨어 버퍼(3개)가 넘쳐서 전송 중인 파일이 깨질 수 있기 때문 */
    if (ota_state == OTA_STATE_NORMAL && now - last_flash_periodic_tick >= 20000) {
        last_flash_periodic_tick = now;
        if (hist.valve_count != saved_valve_count || hist.overheat_count != saved_overheat_count) {
            flash_save_history();
            saved_valve_count = hist.valve_count;
            saved_overheat_count = hist.overheat_count;
        }
    }

    /* 이력 프레임은 5초마다 (자주 안 보내도 되는 데이터) */
    if (now - last_history_tick >= 5000) {
        last_history_tick = now;
        send_history_frame();
    }

    /* Tera Term 로그는 1초에 한 번만 (너무 자주 찍으면 오히려 안 보임) */
    if (now - last_print_tick >= 1000) {
        last_print_tick = now;
        printf("T_amb=%.1f T_cell=%.1f Load=%d%% Valve=%d SOC=%d SOH=%d Fault=0x%02X | max_temp=%.1f valve_cnt=%d overheat_cnt=%d ota_cnt=%d\r\n",
               T_ambient, T_cell, actual_load, valve_angle, soc, soh, fault_byte,
               hist.max_temp, hist.valve_count, hist.overheat_count, hist.ota_count);
    }

    } /* ota_state != OTA_STATE_RECEIVING */

    /* CAN 제어 명령 수신은 매 루프마다 즉시 확인 (지연 없음) */
    CAN_RxHeaderTypeDef rxHeader;
    uint8_t rxData[8];
    if (HAL_CAN_GetRxFifoFillLevel(&hcan2, CAN_RX_FIFO0) > 0)
    {
        if (HAL_CAN_GetRxMessage(&hcan2, CAN_RX_FIFO0, &rxHeader, rxData) == HAL_OK)
        {
            if (rxHeader.StdId == CAN_ID_BMS_CTRL)
            {
                handle_ctrl_frame(rxData, rxHeader.DLC);
            }
            else if (rxHeader.StdId == CAN_ID_UDS_REQ)
            {
                handle_uds_request(rxData, rxHeader.DLC);
            }
            else if (rxHeader.StdId == CAN_ID_OTA_START)
            {
                ota_handle_start(rxData, rxHeader.DLC);
            }
            else if (rxHeader.StdId == CAN_ID_OTA_DATA)
            {
                ota_handle_data(rxData, rxHeader.DLC);
            }
            else if (rxHeader.StdId == CAN_ID_OTA_DONE)
            {
                ota_handle_done();
            }
        }
    }
  }
  /* USER CODE END WHILE */
}

void SystemClock_Config(void)
{
  RCC_OscInitTypeDef RCC_OscInitStruct = {0};
  RCC_ClkInitTypeDef RCC_ClkInitStruct = {0};

  __HAL_RCC_PWR_CLK_ENABLE();
  __HAL_PWR_VOLTAGESCALING_CONFIG(PWR_REGULATOR_VOLTAGE_SCALE3);

  RCC_OscInitStruct.OscillatorType = RCC_OSCILLATORTYPE_HSI;
  RCC_OscInitStruct.HSIState = RCC_HSI_ON;
  RCC_OscInitStruct.HSICalibrationValue = RCC_HSICALIBRATION_DEFAULT;
  RCC_OscInitStruct.PLL.PLLState = RCC_PLL_ON;
  RCC_OscInitStruct.PLL.PLLSource = RCC_PLLSOURCE_HSI;
  RCC_OscInitStruct.PLL.PLLM = 8;
  RCC_OscInitStruct.PLL.PLLN = 50;
  RCC_OscInitStruct.PLL.PLLP = RCC_PLLP_DIV2;
  RCC_OscInitStruct.PLL.PLLQ = 2;
  RCC_OscInitStruct.PLL.PLLR = 2;
  if (HAL_RCC_OscConfig(&RCC_OscInitStruct) != HAL_OK)
  {
    Error_Handler();
  }

  RCC_ClkInitStruct.ClockType = RCC_CLOCKTYPE_HCLK|RCC_CLOCKTYPE_SYSCLK
                              |RCC_CLOCKTYPE_PCLK1|RCC_CLOCKTYPE_PCLK2;
  RCC_ClkInitStruct.SYSCLKSource = RCC_SYSCLKSOURCE_PLLCLK;
  RCC_ClkInitStruct.AHBCLKDivider = RCC_SYSCLK_DIV1;
  RCC_ClkInitStruct.APB1CLKDivider = RCC_HCLK_DIV2;
  RCC_ClkInitStruct.APB2CLKDivider = RCC_HCLK_DIV1;

  if (HAL_RCC_ClockConfig(&RCC_ClkInitStruct, FLASH_LATENCY_1) != HAL_OK)
  {
    Error_Handler();
  }
}

void Error_Handler(void)
{
  __disable_irq();
  while (1)
  {
  }
}

/* ══════════════════════════════════════════════════════════════════
   [확인 완료] 링커 스크립트(.ld) 수정 필요 없음!
   ══════════════════════════════════════════════════════════════════
   실제 STM32F446RETX_FLASH.ld 파일을 확인해보니, STM32CubeIDE가 기본으로
   생성해준 .data 섹션 안에 이미 *(.RamFunc)와 *(.RamFunc*)가 포함되어
   있었습니다 (138~150번째 줄 근처). 그래서:
   - ota_commit_from_ram() 함수에 붙여둔 __attribute__((section(".RamFunc")))
     만으로 이 함수가 자동으로 RAM에 배치됩니다.
   - .data 섹션은 원래 시작 코드(startup_stm32f446xx.s)가 부팅 시 자동으로
     Flash -> RAM 복사를 해주는 표준 메커니즘이라, 따로 복사 코드를 쓸 필요도
     없습니다 (전에 드렸던 수동 복사 코드는 존재하지 않는 심볼을 참조해서
     오히려 빌드 에러를 냈을 거라 제거했습니다).

   즉 .ld 파일은 손대지 마시고, 이 main.c만 반영해서 바로 빌드하시면 됩니다.

   [테스트 순서 제안]
   1. 이 상태로 그냥 지금 쓰던 것과 "동일한" .bin 파일로 먼저 OTA 테스트
      (실패해도 어차피 같은 코드라 위험 부담이 적음)
   2. 정상적으로 반영되고 재부팅되는 것 확인되면, 그 다음부터 실제
      변경된 펌웨어로 테스트
   3. 혹시 이상하게 멈추면 → USB(ST-Link)로 그냥 다시 구워 넣으면
      바로 복구됩니다. 겁먹지 마세요.
   ══════════════════════════════════════════════════════════════════ */
